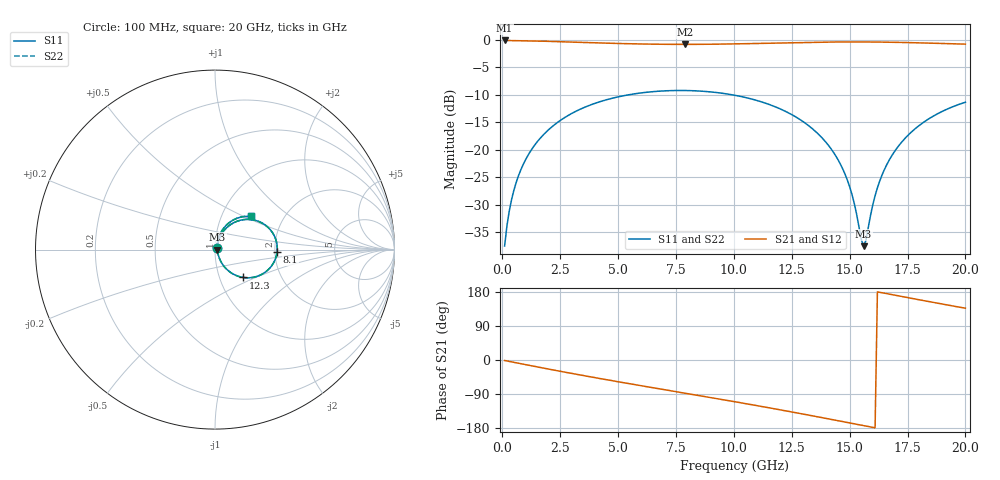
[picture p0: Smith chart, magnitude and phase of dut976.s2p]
! Touchstone file exported from HFSS 2026.1.0
!  File:  C:/ffzhzh/LocalFiles/Ansys_Project_Files/temp_train_TSV_RDL_976_1783286393_38704.aedt
!  Generated:  05:28:42 AM Jul  6, 2026
!  Design:  TSV_RDL
!  Project:  temp_train_TSV_RDL_976_1783286393_38704
! Variables:
!  h_bsmrdl = 4.66um
!  h_ox = 20um
!  h_rdl = 5um
!  h_sub = 95.96um
!  h_tmrdl = 5.88um
!  h_tsv = 95.96um
!  h_via = 3um
!  l_bsmrdl = 265.8um
!  l_sub = 3544.81um
!  l_tmrdl = 552.75um
!  m_sub = 200um
!  pitch = 45.28um
!  r_tsv = 11.8um
!  s_tmrdl = 10um
!  w_bsmrdl = 19.76um
!  w_sub = 500um
!  w_tmrdl = 25.71um
!  x_tsv_center1 = 565.605um
!  x_tsv_center2 = 851.165um
!  x_tsv_center3 = 1429.625um
!  x_tsv_center4 = 1715.185um
!  x_tsv_center5 = 2293.645um
!  x_tsv_center6 = 2579.205um
# GHz S MA R 50.000000
! Terminal data exported
! Port[1] = TM_RDL1_1_T1
! Port[2] = TM_RDL5_1_T1
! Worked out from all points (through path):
!   200 points, 100 MHz to 20 GHz, reference 50 ohm
!   highest |S21| = -0.09 dB at 100 MHz (marker M1); lowest = -0.8 dB at 7.9 GHz (marker M2)
!   group delay of S21, straight-line fit = 30.6 ps
!   lowest |S11| = -37.5 dB at 15.6 GHz (marker M3), VSWR 1.03, Z = 51.3 + j0.0464 ohm
!   |S11| at or under -10 dB: start of sweep to 5.425 GHz; 9.959 GHz to end of sweep
!   |S22| runs from -37.8 to -9.2 dB; largest |S21 - S12| = 2.2e-14
!   S11 on the Smith chart (normalised r, x): 100 MHz: 1.02, +0.02; 8.1 GHz: 2.06, -0.07; 12.3 GHz: 1.29, -0.42; 20 GHz: 1.37, +0.55
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0.1  0.01332 41.7  0.9902 -1.3  0.9902 -1.3  0.01332 41.7
! Gamma 0 0 0 0
! Port Impedance 50 0 50 0
0.3  0.02767 62.8  0.9887 -3.7  0.9887 -3.7  0.02767 62.8
0.5  0.04283 67.9  0.9874 -6.1  0.9874 -6.1  0.04283 67.9
1.1  0.08845 67.8  0.9825 -13.4  0.9825 -13.4  0.08845 67.8
2.1  0.1593 58.9  0.9705 -25.2  0.9705 -25.2  0.1593 58.9
3.5  0.2413 44.2  0.9498 -41.1  0.9498 -41.1  0.2413 44.2
6.8  0.3424 10.5  0.9145 -76.3  0.9145 -76.3  0.3423 10.5
7.9  0.3469 -0.4  0.9121 -87.7  0.9121 -87.7  0.3469 -0.4
8.1  0.3461 -2.4  0.9122 -89.7  0.9122 -89.7  0.3461 -2.4
10.1  0.3123 -22.4  0.9219 -110.7  0.9219 -110.7  0.3122 -22.4
12.3  0.2203 -44.8  0.9433 -134.8  0.9433 -134.8  0.2203 -44.8
13.4  0.1553 -55.5  0.9532 -147.4  0.9532 -147.4  0.1552 -55.6
14.2  0.1021 -62.0  0.9582 -156.6  0.9582 -156.6  0.102 -62.2
14.8  0.06023 -63.6  0.9601 -163.7  0.9601 -163.7  0.06012 -63.9
15.2  0.03261 -56.9  0.9605 -168.4  0.9605 -168.4  0.03243 -57.5
15.6  0.01329 1.9  0.96 -173.1  0.96 -173.1  0.01289 2.0
15.7  0.01488 30.2  0.9597 -174.3  0.9597 -174.3  0.01453 31.0
16  0.03153 65.0  0.9587 -177.8  0.9587 -177.8  0.03138 65.7
16.2  0.04511 70.5  0.9578 179.8  0.9578 179.8  0.04501 71.0
16.7  0.08 72.3  0.9546 174.0  0.9546 174.0  0.07995 72.7
18  0.1664 62.7  0.9419 158.9  0.9419 158.9  0.1663 62.9
20  0.2714 42.8  0.9167 136.7  0.9167 136.7  0.2713 43.0
